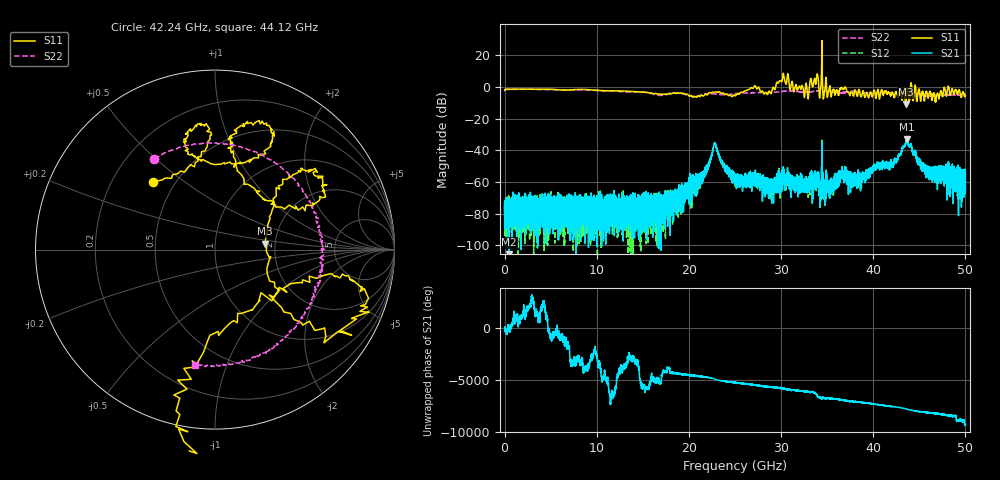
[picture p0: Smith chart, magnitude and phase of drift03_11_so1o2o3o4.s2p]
!Created with skrf (http://scikit-rf.org).
# Hz S RI R 50.0
!freq ReS11 ImS11 ReS21 ImS21 ReS12 ImS12 ReS22 ImS22
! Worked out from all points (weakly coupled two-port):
!   10000 points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, 5.3 MHz to 50 GHz, reference 50 ohm
!   highest |S21| = -32.85 dB at 43.65 GHz (marker M1); lowest = -125.0 dB at 510.3 MHz (marker M2)
!   lowest |S11| = -11.0 dB at 43.52 GHz (marker M3), VSWR 1.78, Z = 88.4 + j6.21 ohm
!   |S11| at or under -10 dB: 43.50069 GHz to 43.55371 GHz (53.02 MHz wide, 0.122 % of centre)
!   |S22| runs from -6.0 to -1.3 dB; largest |S21 - S12| = 0.011
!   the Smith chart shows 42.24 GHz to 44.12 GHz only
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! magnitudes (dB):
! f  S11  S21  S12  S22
! 5.3 MHz  -2.1  -78.3  -81.6  -2.1
! 510.3 MHz  -1.4  -125.0  -73.5  -1.5
! 8.34 GHz  -1.5  -76.1  -82.1  -1.9
! 16.67 GHz  -4.4  -77.6  -74.9  -5.2
! 21 GHz  -5.6  -60.4  -58.9  -5.6
! 21.85 GHz  -4.6  -51.8  -52.7  -4.4
! 22.81 GHz  -3.5  -35.4  -35.3  -4.5
! 25.01 GHz  -5.5  -54.9  -58.0  -4.2
! 27.02 GHz  -0.4  -56.9  -54.3  -3.6
! 28.83 GHz  -3.5  -61.3  -65.7  -3.5
! 30.14 GHz  4.3  -57.0  -58.3  -2.8
! 32.74 GHz  2.0  -59.1  -59.2  -3.4
! 33.34 GHz  2.5  -57.9  -59.0  -2.9
! 35.01 GHz  -6.4  -63.1  -63.5  -2.5
! 36.49 GHz  -0.4  -55.2  -55.3  -3.6
! 38.46 GHz  -1.5  -57.5  -55.7  -3.1
! 41.67 GHz  -3.4  -50.5  -50.9  -3.7
! 43.52 GHz  -11.0  -35.3  -35.4  -4.2
! 43.65 GHz  -1.9  -32.9  -33.3  -4.1
! 45.96 GHz  -6.5  -51.8  -52.3  -5.5
! 49.67 GHz  -4.2  -56.5  -56.0  -5.0
! 50 GHz  -5.3  -52.0  -65.1  -5.0
